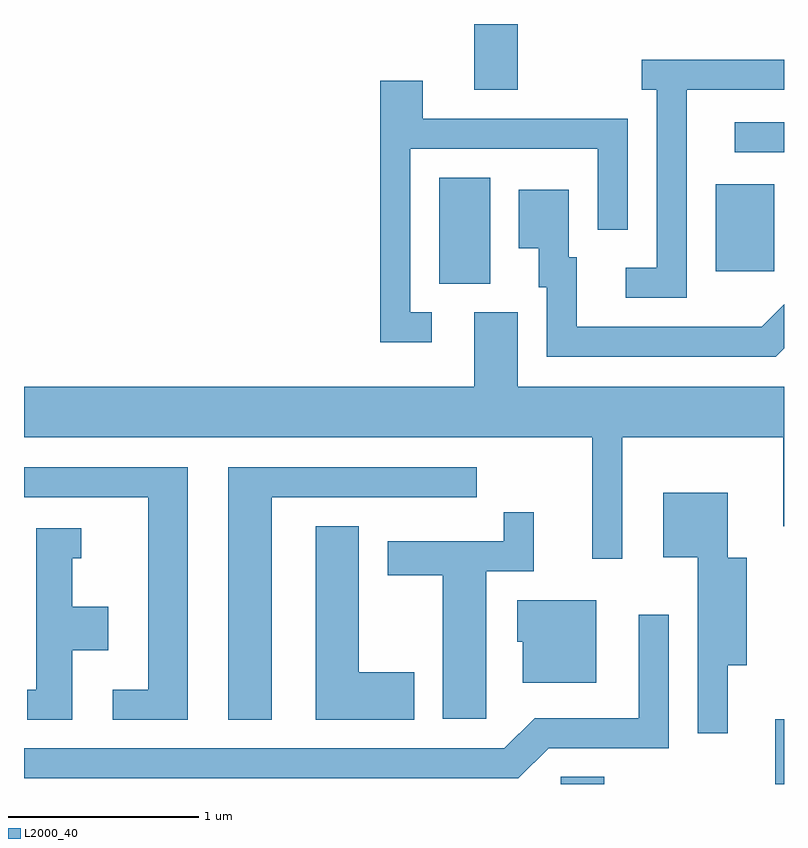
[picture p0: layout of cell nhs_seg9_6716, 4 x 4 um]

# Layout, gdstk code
import gdstk
lib = gdstk.Library(unit=1e-6, precision=1e-09)
def R(c, l, rs):  # rectangles x0, y0, x1, y1
    for r in rs: c.add(gdstk.rectangle(r[:2], r[2:], *l))
def P(c, l, *ps):  # polygons
    for p in ps: c.add(gdstk.Polygon(p, *l))
L2000_40 = (2000, 40)

nhs_seg9_6716 = lib.new_cell('nhs_seg9_6716')
R(nhs_seg9_6716, L2000_40, [(386.436,1994.432,386.664,1994.469), (387.566,1994.432,387.611,1994.774), (385.796,1997.066,386.064,1997.624), (387.251,1997.131,387.559,1997.589), (387.353,1997.756,387.611,1997.914), (385.981,1998.086,386.209,1998.432)])
P(nhs_seg9_6716, L2000_40, [(387.099,1998.086),(387.611,1998.086),(387.611,1998.244),(386.863,1998.244),(386.863,1998.086),(386.941,1998.086),(386.941,1997.149),(386.778,1997.149),(386.778,1996.991),(387.099,1996.991)],
  [(385.758,1996.914),(385.644,1996.914),(385.644,1997.776),(386.631,1997.776),(386.631,1997.348),(386.789,1997.348),(386.789,1997.934),(385.709,1997.934),(385.709,1998.134),(385.486,1998.134),(385.486,1996.756),(385.758,1996.756)],
  [(387.611,1996.725),(387.611,1996.957),(387.494,1996.839),(386.519,1996.839),(386.519,1997.204),(386.479,1997.204),(386.479,1997.559),(386.216,1997.559),(386.216,1997.251),(386.321,1997.251),(386.321,1997.046),(386.361,1997.046),(386.361,1996.681),(387.567,1996.681)],
  [(386.759,1996.256),(387.606,1996.256),(387.606,1995.788),(387.611,1995.788),(387.611,1996.524),(386.209,1996.524),(386.209,1996.914),(385.981,1996.914),(385.981,1996.524),(383.611,1996.524),(383.611,1996.256),(386.601,1996.256),(386.601,1995.618),(386.759,1995.618)],
  [(384.474,1996.099),(383.611,1996.099),(383.611,1995.941),(384.266,1995.941),(384.266,1994.929),(384.078,1994.929),(384.078,1994.771),(384.474,1994.771)],
  [(384.914,1995.941),(385.993,1995.941),(385.993,1996.099),(384.686,1996.099),(384.686,1994.771),(384.914,1994.771)],
  [(387.314,1995.056),(387.414,1995.056),(387.414,1995.624),(387.314,1995.624),(387.314,1995.964),(386.976,1995.964),(386.976,1995.626),(387.156,1995.626),(387.156,1994.698),(387.314,1994.698)],
  [(386.044,1995.551),(386.294,1995.551),(386.294,1995.863),(386.136,1995.863),(386.136,1995.709),(385.526,1995.709),(385.526,1995.531),(385.816,1995.531),(385.816,1994.776),(386.044,1994.776)],
  [(385.664,1995.019),(385.374,1995.019),(385.374,1995.789),(385.146,1995.789),(385.146,1994.771),(385.664,1994.771)],
  [(383.864,1995.136),(384.054,1995.136),(384.054,1995.364),(383.864,1995.364),(383.864,1995.621),(383.913,1995.621),(383.913,1995.779),(383.676,1995.779),(383.676,1994.929),(383.628,1994.929),(383.628,1994.771),(383.864,1994.771)],
  [(386.624,1995.399),(386.206,1995.399),(386.206,1995.181),(386.236,1995.181),(386.236,1994.966),(386.624,1994.966)],
  [(386.372,1994.621),(387.004,1994.621),(387.004,1995.323),(386.846,1995.323),(386.846,1994.779),(386.299,1994.779),(386.139,1994.619),(383.611,1994.619),(383.611,1994.461),(386.212,1994.461)])

lib.write_gds('nhs_seg9_6716.gds')
